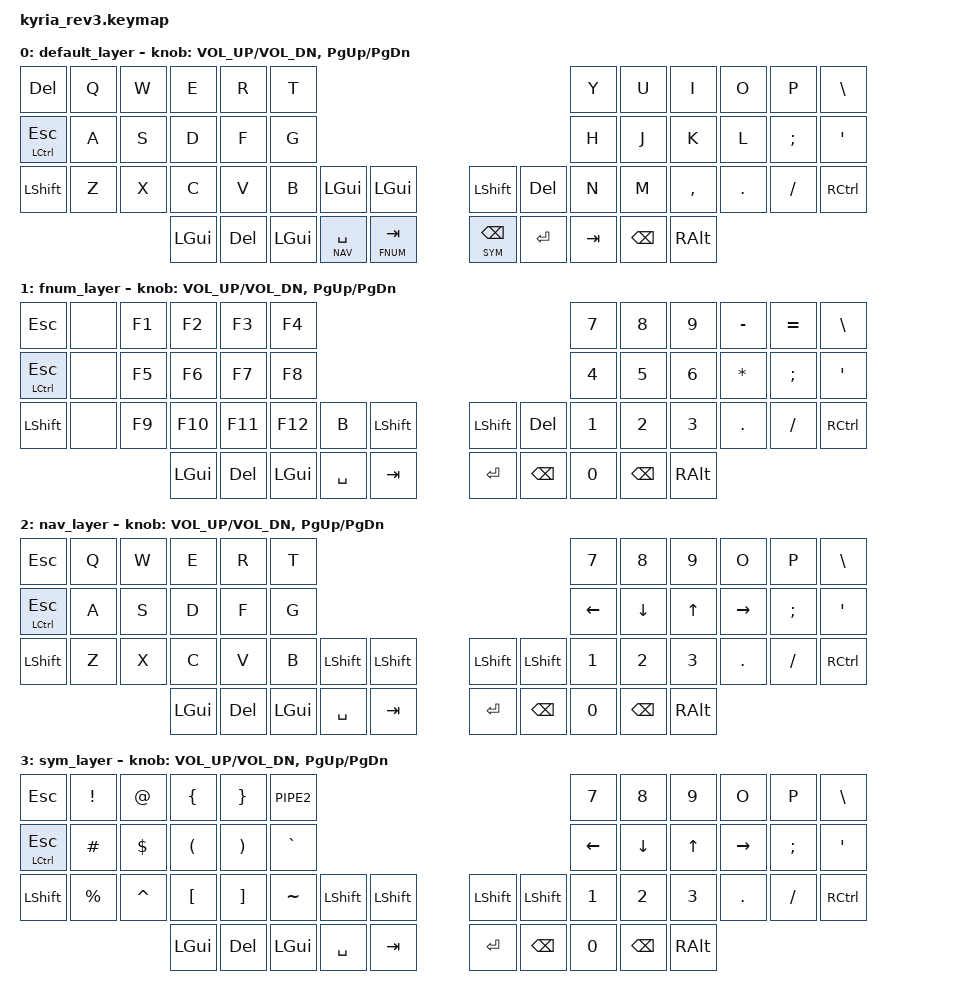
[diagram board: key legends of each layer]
/*
 * Copyright (c) 2023 The ZMK Contributors
 *
 * SPDX-License-Identifier: MIT
 */

#include <behaviors.dtsi>
#include <dt-bindings/zmk/keys.h>

#define DEFAULT 0
#define FNUM    1
#define NAV     2
#define SYM     3

/* Uncomment this block if using RGB
&led_strip {
    chain-length = <6>;
    // chain-length = <31>; // Uncomment if using both per-key and underglow LEDs
    // chain-length = <25>; // Uncomment if using only per-key LEDs.
};
 */

/ {
    keymap {
        compatible = "zmk,keymap";

        default_layer {
            // ---------------------------------------------------------------------------------------------------------------------------------
            // |  DEL  |  Q  |  W  |  E   |  R   |  T   |                                          |  Y   |  U    |  I    |  O   |   P   |   \  |
            // |  VIM  |  A  |  S  |  D   |  F   |  G   |                                          |  H   |  J    |  K    |  L   |   ;   |   '  |
            // | SHIFT |  Z  |  X  |  C   |  V   |  B   |   GUI   |   GUI   |  | L SHIFT |  DEL    |  N   |  M    |  ,    |  .   |   /   | CTRL |
            //                     | GUI  | DEL  | SYM  |SPACE/NAV| TAB/FNUM|  |   RET   |  BSPC   | TAB  | BSPC  | R-ALT |
            bindings = <
            &kp DEL &kp Q &kp W &kp E &kp R &kp T                                                   &kp Y &kp U  &kp I     &kp O   &kp P    &kp BSLH
            &mt LCTRL ESC &kp A &kp S &kp D &kp F &kp G                                             &kp H &kp J  &kp K     &kp L   &kp SEMI &kp SQT
            &kp LSHFT &kp Z &kp X &kp C &kp V &kp B &kp LGUI &kp LGUI       &kp LSHFT &kp DEL &kp N &kp M  &kp COMMA &kp DOT &kp FSLH &kp RCTRL
            &kp LGUI &kp DEL &kp LGUI &lt NAV SPACE &lt FNUM TAB            &lt SYM BSPC  &kp RET  &kp TAB &kp BSPC &kp RALT
            >;

            sensor-bindings = <&inc_dec_kp C_VOL_UP C_VOL_DN &inc_dec_kp PG_UP PG_DN>;
        };


        
        fnum_layer {
            // ---------------------------------------------------------------------------------------------------------------------------------
            // |  ESC  | none |  F1 |  F2  |  F3  |  F4  |                                          |  7   |  8    |  9    |  -   |   =   |   \  |
            // |  VIM  | none |  F5 |  F6  |  F7  |  F8  |                                          |  4   |  5    |  6    |  *   |   ;   |   '  |
            // | SHIFT | none |  F9 |  F10 |  F11 |  F12 | L SHIFT | L SHIFT |  | L SHIFT |  DEL    |  1   |  2    |  3    |  .   |   /   | CTRL |
            //                      | GUI  | DEL  | GUI  |  SPACE  |   ESC   |  |   RET   |  BSPC   |  0   | BSPC  | R-ALT |
            bindings = <
            &kp ESC       &none &kp F1 &kp F2  &kp F3  &kp F4                                         &kp N7 &kp N8  &kp N9 &kp MINUS &kp EQUAL  &kp BSLH
            &mt LCTRL ESC &none &kp F5 &kp F6  &kp F7  &kp F8                                         &kp N4 &kp N5  &kp N6 &kp STAR  &kp SEMI &kp SQT
            &kp LSHFT     &none &kp F9 &kp F10 &kp F11 &kp F12 &kp B &kp LSHFT      &kp LSHFT &kp DEL &kp N1 &kp N2  &kp N3  &kp DOT &kp FSLH &kp RCTRL
            &kp LGUI &kp DEL &kp LGUI &kp SPACE &kp TAB                             &kp RET  &kp BSPC  &kp N0 &kp BSPC &kp RALT
            >;

            sensor-bindings = <&inc_dec_kp C_VOL_UP C_VOL_DN &inc_dec_kp PG_UP PG_DN>;
        };


        nav_layer {
            // ---------------------------------------------------------------------------------------------------------------------------------
            // |  ESC  |  Q  |  W  |  E   |  R   |  T   |                                          |  Y   |  U    |  I    |  O   |   P   |   \  |
            // |  VIM  |  A  |  S  |  D   |  F   |  G   |                                          |  ⬅   |  ⬇    |  ⬆    |  ⮕   |   ;   |   '  |
            // | SHIFT |  Z  |  X  |  C   |  V   |  B   | L SHIFT | L SHIFT |  | L SHIFT | L SHIFT |  N   |  M    |  ,    |  .   |   /   | CTRL |
            //                     | GUI  | DEL  | GUI  |  SPACE  |   ESC   |  |   RET   |  BSPC   | TAB  | BSPC  | R-ALT |
            bindings = <
            &kp ESC &kp Q &kp W &kp E &kp R &kp T                                                   &kp N7 &kp N8  &kp N9 &kp O   &kp P    &kp BSLH
            &mt LCTRL ESC &kp A &kp S &kp D &kp F &kp G                                             &kp LEFT &kp DOWN &kp UP  &kp RIGHT &kp SEMI &kp SQT
            &kp LSHFT &kp Z &kp X &kp C &kp V &kp B &kp LSHFT &kp LSHFT             &kp LSHFT &kp LSHFT &kp N1 &kp N2  &kp N3  &kp DOT &kp FSLH &kp RCTRL
            &kp LGUI &kp DEL &kp LGUI &kp SPACE &kp TAB                             &kp RET  &kp BSPC  &kp N0 &kp BSPC &kp RALT
            >;

            sensor-bindings = <&inc_dec_kp C_VOL_UP C_VOL_DN &inc_dec_kp PG_UP PG_DN>;
        };

        sym_layer {
            // ---------------------------------------------------------------------------------------------------------------------------------
            // |        |  !  |  @  |  {   |  }   |  |   |                                          |  &   |  *    |  ;    |  :   |       |   \  |
            // |        |  #  |  $  |  (   |  )   |  `   |                                          |  -   |  <    |  >    |  '   |   ;   |   '  |
            // |        |  %  |  ^  |  [   |  ]   |  ~   | L SHIFT | L SHIFT |  | L SHIFT | L SHIFT |  _   |  =    |  +    |  "   |   /   | CTRL |
            //                      | GUI  | DEL  | GUI  |  SPACE  |   ESC   |  |   RET   |  BSPC   | TAB  | BSPC  | R-ALT |
            bindings = <
            &kp ESC       &kp EXCL  &kp AT    &kp LBRC &kp RBRC &kp PIPE2                               &kp N7 &kp N8  &kp N9 &kp O   &kp P    &kp BSLH
            &mt LCTRL ESC &kp HASH  &kp DLLR  &kp LPAR &kp RPAR &kp GRAVE                               &kp LEFT &kp DOWN &kp UP  &kp RIGHT &kp SEMI &kp SQT
            &kp LSHFT     &kp PRCNT &kp CARET &kp LBKT &kp RBKT &kp TILDE &kp LSHFT &kp LSHFT       &kp LSHFT &kp LSHFT &kp N1 &kp N2  &kp N3  &kp DOT &kp FSLH &kp RCTRL
                                              &kp LGUI &kp DEL  &kp LGUI  &kp SPACE &kp TAB         &kp RET  &kp BSPC  &kp N0 &kp BSPC &kp RALT
            >;

            sensor-bindings = <&inc_dec_kp C_VOL_UP C_VOL_DN &inc_dec_kp PG_UP PG_DN>;
        };
    };
};
